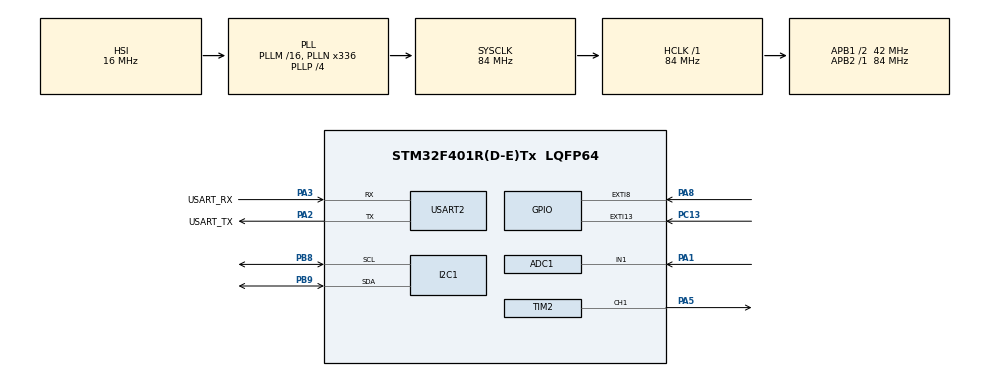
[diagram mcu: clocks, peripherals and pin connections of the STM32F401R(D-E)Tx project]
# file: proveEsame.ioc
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ADC1.Channel-0\#ChannelRegularConversion=ADC_CHANNEL_1
ADC1.Channel-3\#ChannelRegularConversion=ADC_CHANNEL_TEMPSENSOR
ADC1.Channel-4\#ChannelRegularConversion=ADC_CHANNEL_VREFINT
ADC1.DMAContinuousRequests=ENABLE
ADC1.ExternalTrigConv=ADC_EXTERNALTRIGCONV_T3_TRGO
ADC1.InjNumberOfConversion=0
ADC1.NbrOfConversion=3
ADC1.NbrOfConversionFlag=1
ADC1.Rank-0\#ChannelRegularConversion=1
ADC1.Rank-3\#ChannelRegularConversion=2
ADC1.Rank-4\#ChannelRegularConversion=3
ADC1.SamplingTime-0\#ChannelRegularConversion=ADC_SAMPLETIME_480CYCLES
ADC1.SamplingTime-3\#ChannelRegularConversion=ADC_SAMPLETIME_480CYCLES
ADC1.SamplingTime-4\#ChannelRegularConversion=ADC_SAMPLETIME_480CYCLES
ADC1.master=1
Dma.ADC1.1.Direction=DMA_PERIPH_TO_MEMORY
Dma.ADC1.1.FIFOMode=DMA_FIFOMODE_DISABLE
Dma.ADC1.1.Instance=DMA2_Stream0
Dma.ADC1.1.MemDataAlignment=DMA_MDATAALIGN_HALFWORD
Dma.ADC1.1.MemInc=DMA_MINC_ENABLE
Dma.ADC1.1.Mode=DMA_CIRCULAR
Dma.ADC1.1.PeriphDataAlignment=DMA_PDATAALIGN_HALFWORD
Dma.ADC1.1.PeriphInc=DMA_PINC_DISABLE
Dma.ADC1.1.Priority=DMA_PRIORITY_LOW
Dma.I2C1_RX.2.Direction=DMA_PERIPH_TO_MEMORY
Dma.I2C1_RX.2.FIFOMode=DMA_FIFOMODE_DISABLE
Dma.I2C1_RX.2.Instance=DMA1_Stream0
Dma.I2C1_RX.2.MemDataAlignment=DMA_MDATAALIGN_BYTE
Dma.I2C1_RX.2.MemInc=DMA_MINC_ENABLE
Dma.I2C1_RX.2.Mode=DMA_NORMAL
Dma.I2C1_RX.2.PeriphDataAlignment=DMA_PDATAALIGN_BYTE
Dma.I2C1_RX.2.PeriphInc=DMA_PINC_DISABLE
Dma.I2C1_RX.2.Priority=DMA_PRIORITY_LOW
Dma.Request0=USART2_TX
Dma.Request1=ADC1
Dma.Request2=I2C1_RX
Dma.USART2_TX.0.Direction=DMA_MEMORY_TO_PERIPH
Dma.USART2_TX.0.FIFOMode=DMA_FIFOMODE_DISABLE
Dma.USART2_TX.0.Instance=DMA1_Stream6
Dma.USART2_TX.0.MemDataAlignment=DMA_MDATAALIGN_BYTE
Dma.USART2_TX.0.MemInc=DMA_MINC_ENABLE
Dma.USART2_TX.0.Mode=DMA_NORMAL
Dma.USART2_TX.0.PeriphDataAlignment=DMA_PDATAALIGN_BYTE
Dma.USART2_TX.0.PeriphInc=DMA_PINC_DISABLE
Dma.USART2_TX.0.Priority=DMA_PRIORITY_HIGH
Mcu.Family=STM32F4
Mcu.Name=STM32F401R(D-E)Tx
Mcu.Package=LQFP64
NVIC.ADC_IRQn=true\:0\:0\:false\:false\:true\:true\:true
NVIC.DMA1_Stream0_IRQn=true\:0\:0\:false\:false\:true\:false\:true
NVIC.DMA1_Stream6_IRQn=true\:0\:0\:false\:false\:true\:false\:true
NVIC.DMA2_Stream0_IRQn=true\:0\:0\:false\:false\:true\:false\:true
NVIC.EXTI15_10_IRQn=true\:0\:0\:false\:false\:true\:true\:true
NVIC.EXTI9_5_IRQn=true\:0\:0\:false\:false\:true\:true\:true
NVIC.I2C1_EV_IRQn=true\:0\:0\:false\:false\:true\:true\:true
NVIC.PriorityGroup=NVIC_PRIORITYGROUP_0
NVIC.USART2_IRQn=true\:0\:0\:false\:false\:true\:true\:true
PA1.Signal=ADCx_IN1
PA13.GPIO_Label=TMS
PA13.Mode=Serial_Wire
PA13.Signal=SYS_JTMS-SWDIO
PA14.GPIO_Label=TCK
PA14.Mode=Serial_Wire
PA14.Signal=SYS_JTCK-SWCLK
PA2.GPIO_Label=USART_TX
PA2.GPIO_Mode=GPIO_MODE_AF_PP
PA2.GPIO_PuPd=GPIO_NOPULL
PA2.GPIO_Speed=GPIO_SPEED_FREQ_LOW
PA2.Mode=Asynchronous
PA2.Signal=USART2_TX
PA3.GPIO_Label=USART_RX
PA3.GPIO_Mode=GPIO_MODE_AF_PP
PA3.GPIO_PuPd=GPIO_NOPULL
PA3.GPIO_Speed=GPIO_SPEED_FREQ_LOW
PA3.Mode=Asynchronous
PA3.Signal=USART2_RX
PA5.Signal=S_TIM2_CH1_ETR
PA8.Signal=GPXTI8
PB3.GPIO_Label=SWO
PB3.Signal=SYS_JTDO-SWO
PB8.Mode=I2C
PB8.Signal=I2C1_SCL
PB9.Mode=I2C
PB9.Signal=I2C1_SDA
PC13-ANTI_TAMP.Signal=GPXTI13
PC14-OSC32_IN.Mode=LSE-External-Oscillator
PC14-OSC32_IN.Signal=RCC_OSC32_IN
PC15-OSC32_OUT.Mode=LSE-External-Oscillator
PC15-OSC32_OUT.Signal=RCC_OSC32_OUT
PH0\ -\ OSC_IN.Mode=HSE-External-Clock-Source
PH0\ -\ OSC_IN.Signal=RCC_OSC_IN
PH1\ -\ OSC_OUT.Mode=HSE-External-Clock-Source
PH1\ -\ OSC_OUT.Signal=RCC_OSC_OUT
ProjectManager.HeapSize=0x200
ProjectManager.StackSize=0x400
ProjectManager.TargetToolchain=STM32CubeIDE
RCC.48MHZClocksFreq_Value=48000000
RCC.AHBFreq_Value=84000000
RCC.APB1CLKDivider=RCC_HCLK_DIV2
RCC.APB1Freq_Value=42000000
RCC.APB1TimFreq_Value=84000000
RCC.APB2Freq_Value=84000000
RCC.APB2TimFreq_Value=84000000
RCC.CortexFreq_Value=84000000
RCC.HCLKFreq_Value=84000000
RCC.HSE_VALUE=8000000
RCC.HSI_VALUE=16000000
RCC.PLLN=336
RCC.PLLP=RCC_PLLP_DIV4
RCC.PLLQ=7
RCC.SYSCLKFreq_VALUE=84000000
RCC.SYSCLKSource=RCC_SYSCLKSOURCE_PLLCLK
RCC.VCOOutputFreq_Value=336000000
SH.ADCx_IN1.0=ADC1_IN1,IN1
SH.S_TIM2_CH1_ETR.0=TIM2_CH1,PWM Generation1 CH1
TIM2.Channel-PWM\ Generation1\ CH1=TIM_CHANNEL_1
TIM2.Period=2000-1
TIM2.Prescaler=48000-1
TIM2.Pulse-PWM\ Generation1\ CH1=1000-1
TIM3.Period=8000
TIM3.Prescaler=48000
TIM3.TIM_MasterOutputTrigger=TIM_TRGO_UPDATE
USART2.VirtualMode=VM_ASYNC
VP_ADC1_TempSens_Input.Mode=IN-TempSens
VP_ADC1_Vref_Input.Mode=IN-Vrefint
VP_TIM2_VS_ClockSourceINT.Mode=Internal
VP_TIM3_VS_ClockSourceINT.Mode=Internal
board=NUCLEO-F401RE

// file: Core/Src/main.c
/* USER CODE BEGIN Header */
/**
 ******************************************************************************
 * @file           : main.c
 * @brief          : Main program body
 ******************************************************************************
 * @attention
 *
 * <h2><center>&copy; Copyright (c) 2022 STMicroelectronics.
 * All rights reserved.</center></h2>
 *
 * This software component is licensed by ST under BSD 3-Clause license,
 * the "License"; You may not use this file except in compliance with the
 * License. You may obtain a copy of the License at:
 *                        opensource.org/licenses/BSD-3-Clause
 *
 ******************************************************************************
 */
/* USER CODE END Header */
#include "main.h"

/* USER CODE BEGIN Includes */
#include "string.h"
/* USER CODE END Includes */

/* USER CODE BEGIN PTD */
typedef struct Data {
	uint16_t potentiometer;
	uint16_t temperature;
	uint16_t Vref;
} Data;
uint16_t accAddress = 0b1001000 << 1;
uint8_t accBuf[2];

/* USER CODE END PTD */

ADC_HandleTypeDef hadc1;
DMA_HandleTypeDef hdma_adc1;

I2C_HandleTypeDef hi2c1;
DMA_HandleTypeDef hdma_i2c1_rx;

TIM_HandleTypeDef htim2;
TIM_HandleTypeDef htim3;

UART_HandleTypeDef huart2;
DMA_HandleTypeDef hdma_usart2_tx;

/* USER CODE BEGIN PV */
char message[64];
int flag = 1;
Data buf;
/* USER CODE END PV */

void SystemClock_Config(void);
static void MX_GPIO_Init(void);
static void MX_USART2_UART_Init(void);
static void MX_DMA_Init(void);
static void MX_TIM2_Init(void);
static void MX_ADC1_Init(void);
static void MX_TIM3_Init(void);
static void MX_I2C1_Init(void);

int main(void)
{

  /* MCU Configuration--------------------------------------------------------*/

  /* Reset of all peripherals, Initializes the Flash interface and the Systick. */
  HAL_Init();

  /* USER CODE BEGIN Init */
	MX_DMA_Init();
  /* USER CODE END Init */

  /* Configure the system clock */
  SystemClock_Config();

  /* Initialize all configured peripherals */
  MX_GPIO_Init();
  MX_USART2_UART_Init();
  MX_DMA_Init();
  MX_TIM2_Init();
  MX_ADC1_Init();
  MX_TIM3_Init();
  MX_I2C1_Init();
  /* USER CODE BEGIN 2 */
	HAL_TIM_PWM_Start(&htim2, TIM_CHANNEL_1);
	HAL_TIM_Base_Start(&htim3);
	HAL_ADC_Start_DMA(&hadc1, (uint16_t*) &buf, 3);

	// init regs to be read
	accBuf[0] = 0b00000000;
	HAL_I2C_Master_Transmit(&hi2c1, accAddress, accBuf, 1, 1000);

	// read registers
  /* USER CODE END 2 */

  /* Infinite loop */
  /* USER CODE BEGIN WHILE */
	while (1) {
		HAL_I2C_Master_Receive_DMA(&hi2c1, accAddress, accBuf, 2);
		HAL_Delay(2000);
    /* USER CODE END WHILE */

	}
}

void SystemClock_Config(void)
{
  RCC_OscInitTypeDef RCC_OscInitStruct = {0};
  RCC_ClkInitTypeDef RCC_ClkInitStruct = {0};

  /** Configure the main internal regulator output voltage
  */
  __HAL_RCC_PWR_CLK_ENABLE();
  __HAL_PWR_VOLTAGESCALING_CONFIG(PWR_REGULATOR_VOLTAGE_SCALE2);
  /** Initializes the RCC Oscillators according to the specified parameters
  * in the RCC_OscInitTypeDef structure.
  */
  RCC_OscInitStruct.OscillatorType = RCC_OSCILLATORTYPE_HSI;
  RCC_OscInitStruct.HSIState = RCC_HSI_ON;
  RCC_OscInitStruct.HSICalibrationValue = RCC_HSICALIBRATION_DEFAULT;
  RCC_OscInitStruct.PLL.PLLState = RCC_PLL_ON;
  RCC_OscInitStruct.PLL.PLLSource = RCC_PLLSOURCE_HSI;
  RCC_OscInitStruct.PLL.PLLM = 16;
  RCC_OscInitStruct.PLL.PLLN = 336;
  RCC_OscInitStruct.PLL.PLLP = RCC_PLLP_DIV4;
  RCC_OscInitStruct.PLL.PLLQ = 7;
  if (HAL_RCC_OscConfig(&RCC_OscInitStruct) != HAL_OK)
  {
    Error_Handler();
  }
  /** Initializes the CPU, AHB and APB buses clocks
  */
  RCC_ClkInitStruct.ClockType = RCC_CLOCKTYPE_HCLK|RCC_CLOCKTYPE_SYSCLK
                              |RCC_CLOCKTYPE_PCLK1|RCC_CLOCKTYPE_PCLK2;
  RCC_ClkInitStruct.SYSCLKSource = RCC_SYSCLKSOURCE_PLLCLK;
  RCC_ClkInitStruct.AHBCLKDivider = RCC_SYSCLK_DIV1;
  RCC_ClkInitStruct.APB1CLKDivider = RCC_HCLK_DIV2;
  RCC_ClkInitStruct.APB2CLKDivider = RCC_HCLK_DIV1;

  if (HAL_RCC_ClockConfig(&RCC_ClkInitStruct, FLASH_LATENCY_2) != HAL_OK)
  {
    Error_Handler();
  }
}

static void MX_ADC1_Init(void)
{

  ADC_ChannelConfTypeDef sConfig = {0};

  /** Configure the global features of the ADC (Clock, Resolution, Data Alignment and number of conversion)
  */
  hadc1.Instance = ADC1;
  hadc1.Init.ClockPrescaler = ADC_CLOCK_SYNC_PCLK_DIV4;
  hadc1.Init.Resolution = ADC_RESOLUTION_12B;
  hadc1.Init.ScanConvMode = ENABLE;
  hadc1.Init.ContinuousConvMode = DISABLE;
  hadc1.Init.DiscontinuousConvMode = DISABLE;
  hadc1.Init.ExternalTrigConvEdge = ADC_EXTERNALTRIGCONVEDGE_RISING;
  hadc1.Init.ExternalTrigConv = ADC_EXTERNALTRIGCONV_T3_TRGO;
  hadc1.Init.DataAlign = ADC_DATAALIGN_RIGHT;
  hadc1.Init.NbrOfConversion = 3;
  hadc1.Init.DMAContinuousRequests = ENABLE;
  hadc1.Init.EOCSelection = ADC_EOC_SINGLE_CONV;
  if (HAL_ADC_Init(&hadc1) != HAL_OK)
  {
    Error_Handler();
  }
  /** Configure for the selected ADC regular channel its corresponding rank in the sequencer and its sample time.
  */
  sConfig.Channel = ADC_CHANNEL_1;
  sConfig.Rank = 1;
  sConfig.SamplingTime = ADC_SAMPLETIME_480CYCLES;
  if (HAL_ADC_ConfigChannel(&hadc1, &sConfig) != HAL_OK)
  {
    Error_Handler();
  }
  /** Configure for the selected ADC regular channel its corresponding rank in the sequencer and its sample time.
  */
  sConfig.Channel = ADC_CHANNEL_TEMPSENSOR;
  sConfig.Rank = 2;
  if (HAL_ADC_ConfigChannel(&hadc1, &sConfig) != HAL_OK)
  {
    Error_Handler();
  }
  /** Configure for the selected ADC regular channel its corresponding rank in the sequencer and its sample time.
  */
  sConfig.Channel = ADC_CHANNEL_VREFINT;
  sConfig.Rank = 3;
  if (HAL_ADC_ConfigChannel(&hadc1, &sConfig) != HAL_OK)
  {
    Error_Handler();
  }

}

static void MX_I2C1_Init(void)
{

  hi2c1.Instance = I2C1;
  hi2c1.Init.ClockSpeed = 100000;
  hi2c1.Init.DutyCycle = I2C_DUTYCYCLE_2;
  hi2c1.Init.OwnAddress1 = 0;
  hi2c1.Init.AddressingMode = I2C_ADDRESSINGMODE_7BIT;
  hi2c1.Init.DualAddressMode = I2C_DUALADDRESS_DISABLE;
  hi2c1.Init.OwnAddress2 = 0;
  hi2c1.Init.GeneralCallMode = I2C_GENERALCALL_DISABLE;
  hi2c1.Init.NoStretchMode = I2C_NOSTRETCH_DISABLE;
  if (HAL_I2C_Init(&hi2c1) != HAL_OK)
  {
    Error_Handler();
  }

}

static void MX_TIM2_Init(void)
{

  TIM_ClockConfigTypeDef sClockSourceConfig = {0};
  TIM_MasterConfigTypeDef sMasterConfig = {0};
  TIM_OC_InitTypeDef sConfigOC = {0};

  htim2.Instance = TIM2;
  htim2.Init.Prescaler = 48000-1;
  htim2.Init.CounterMode = TIM_COUNTERMODE_UP;
  htim2.Init.Period = 2000-1;
  htim2.Init.ClockDivision = TIM_CLOCKDIVISION_DIV1;
  htim2.Init.AutoReloadPreload = TIM_AUTORELOAD_PRELOAD_DISABLE;
  if (HAL_TIM_Base_Init(&htim2) != HAL_OK)
  {
    Error_Handler();
  }
  sClockSourceConfig.ClockSource = TIM_CLOCKSOURCE_INTERNAL;
  if (HAL_TIM_ConfigClockSource(&htim2, &sClockSourceConfig) != HAL_OK)
  {
    Error_Handler();
  }
  if (HAL_TIM_PWM_Init(&htim2) != HAL_OK)
  {
    Error_Handler();
  }
  sMasterConfig.MasterOutputTrigger = TIM_TRGO_RESET;
  sMasterConfig.MasterSlaveMode = TIM_MASTERSLAVEMODE_DISABLE;
  if (HAL_TIMEx_MasterConfigSynchronization(&htim2, &sMasterConfig) != HAL_OK)
  {
    Error_Handler();
  }
  sConfigOC.OCMode = TIM_OCMODE_PWM1;
  sConfigOC.Pulse = 1000-1;
  sConfigOC.OCPolarity = TIM_OCPOLARITY_HIGH;
  sConfigOC.OCFastMode = TIM_OCFAST_DISABLE;
  if (HAL_TIM_PWM_ConfigChannel(&htim2, &sConfigOC, TIM_CHANNEL_1) != HAL_OK)
  {
    Error_Handler();
  }
  HAL_TIM_MspPostInit(&htim2);

}

static void MX_TIM3_Init(void)
{

  TIM_ClockConfigTypeDef sClockSourceConfig = {0};
  TIM_MasterConfigTypeDef sMasterConfig = {0};

  htim3.Instance = TIM3;
  htim3.Init.Prescaler = 48000;
  htim3.Init.CounterMode = TIM_COUNTERMODE_UP;
  htim3.Init.Period = 8000;
  htim3.Init.ClockDivision = TIM_CLOCKDIVISION_DIV1;
  htim3.Init.AutoReloadPreload = TIM_AUTORELOAD_PRELOAD_DISABLE;
  if (HAL_TIM_Base_Init(&htim3) != HAL_OK)
  {
    Error_Handler();
  }
  sClockSourceConfig.ClockSource = TIM_CLOCKSOURCE_INTERNAL;
  if (HAL_TIM_ConfigClockSource(&htim3, &sClockSourceConfig) != HAL_OK)
  {
    Error_Handler();
  }
  sMasterConfig.MasterOutputTrigger = TIM_TRGO_UPDATE;
  sMasterConfig.MasterSlaveMode = TIM_MASTERSLAVEMODE_DISABLE;
  if (HAL_TIMEx_MasterConfigSynchronization(&htim3, &sMasterConfig) != HAL_OK)
  {
    Error_Handler();
  }

}

static void MX_USART2_UART_Init(void)
{

  huart2.Instance = USART2;
  huart2.Init.BaudRate = 115200;
  huart2.Init.WordLength = UART_WORDLENGTH_8B;
  huart2.Init.StopBits = UART_STOPBITS_1;
  huart2.Init.Parity = UART_PARITY_NONE;
  huart2.Init.Mode = UART_MODE_TX_RX;
  huart2.Init.HwFlowCtl = UART_HWCONTROL_NONE;
  huart2.Init.OverSampling = UART_OVERSAMPLING_16;
  if (HAL_UART_Init(&huart2) != HAL_OK)
  {
    Error_Handler();
  }

}

static void MX_DMA_Init(void)
{

  /* DMA controller clock enable */
  __HAL_RCC_DMA1_CLK_ENABLE();
  __HAL_RCC_DMA2_CLK_ENABLE();

  /* DMA interrupt init */
  /* DMA1_Stream0_IRQn interrupt configuration */
  HAL_NVIC_SetPriority(DMA1_Stream0_IRQn, 0, 0);
  HAL_NVIC_EnableIRQ(DMA1_Stream0_IRQn);
  /* DMA1_Stream6_IRQn interrupt configuration */
  HAL_NVIC_SetPriority(DMA1_Stream6_IRQn, 0, 0);
  HAL_NVIC_EnableIRQ(DMA1_Stream6_IRQn);
  /* DMA2_Stream0_IRQn interrupt configuration */
  HAL_NVIC_SetPriority(DMA2_Stream0_IRQn, 0, 0);
  HAL_NVIC_EnableIRQ(DMA2_Stream0_IRQn);

}

static void MX_GPIO_Init(void)
{
  GPIO_InitTypeDef GPIO_InitStruct = {0};

  /* GPIO Ports Clock Enable */
  __HAL_RCC_GPIOC_CLK_ENABLE();
  __HAL_RCC_GPIOH_CLK_ENABLE();
  __HAL_RCC_GPIOA_CLK_ENABLE();
  __HAL_RCC_GPIOB_CLK_ENABLE();

  /*Configure GPIO pin : PC13 */
  GPIO_InitStruct.Pin = GPIO_PIN_13;
  GPIO_InitStruct.Mode = GPIO_MODE_IT_RISING;
  GPIO_InitStruct.Pull = GPIO_NOPULL;
  HAL_GPIO_Init(GPIOC, &GPIO_InitStruct);

  /*Configure GPIO pin : PA8 */
  GPIO_InitStruct.Pin = GPIO_PIN_8;
  GPIO_InitStruct.Mode = GPIO_MODE_IT_RISING;
  GPIO_InitStruct.Pull = GPIO_NOPULL;
  HAL_GPIO_Init(GPIOA, &GPIO_InitStruct);

  /* EXTI interrupt init*/
  HAL_NVIC_SetPriority(EXTI9_5_IRQn, 0, 0);
  HAL_NVIC_EnableIRQ(EXTI9_5_IRQn);

  HAL_NVIC_SetPriority(EXTI15_10_IRQn, 0, 0);
  HAL_NVIC_EnableIRQ(EXTI15_10_IRQn);

}

/* USER CODE BEGIN 4 */
void HAL_GPIO_EXTI_Callback(uint16_t GPIO_Pin) {
	switch (GPIO_Pin) {
	case GPIO_PIN_13:
	case GPIO_PIN_8:
		flag ^= 1;
		strcpy(message, (flag ? "LED ON\r\n" : "LED OFF\r\n"));
		HAL_UART_Transmit_DMA(&huart2, message, strlen(message));
		break;
	}
}

void HAL_UART_TxCpltCallback(UART_HandleTypeDef *huart) {
	(flag ? HAL_TIM_PWM_Start(&htim2, TIM_CHANNEL_1) : HAL_TIM_PWM_Stop(&htim2,
	TIM_CHANNEL_1));

}

void HAL_ADC_ConvCpltCallback(ADC_HandleTypeDef *hadc) {
	float vref = (float) buf.Vref / 4096.0 * 3.3; // Volts
	float potentiometer = (float) buf.potentiometer / 4096.0 * 100; // percentage
	float temperature = ((float) buf.temperature / 4096.0 * 3.3 - 0.76) / 2.5
			+ 25; // °C

	char msg[128];
	int len = sprintf(msg,
			"Vref: %+.3f potentiometer: %.1f temperature: %.2f\r\n", vref,
			potentiometer, temperature);
	HAL_UART_Transmit(&huart2, msg, len, 1000);
}

void HAL_I2C_MasterRxCpltCallback(I2C_HandleTypeDef *hi2c) {
	float temp = (float) (((int16_t) accBuf[0]) << 8 | accBuf[1]) / 256.0;
	char tempStr[64];
	int lenTempStr = sprintf(tempStr, "tempMeasured: %.3f\r\n", temp);
	HAL_UART_Transmit(&huart2, tempStr, lenTempStr, 1000);
}
/* USER CODE END 4 */

void Error_Handler(void)
{
	__disable_irq();
	while (1) {
	}
}

/************************ (C) COPYRIGHT STMicroelectronics *****END OF FILE****/
